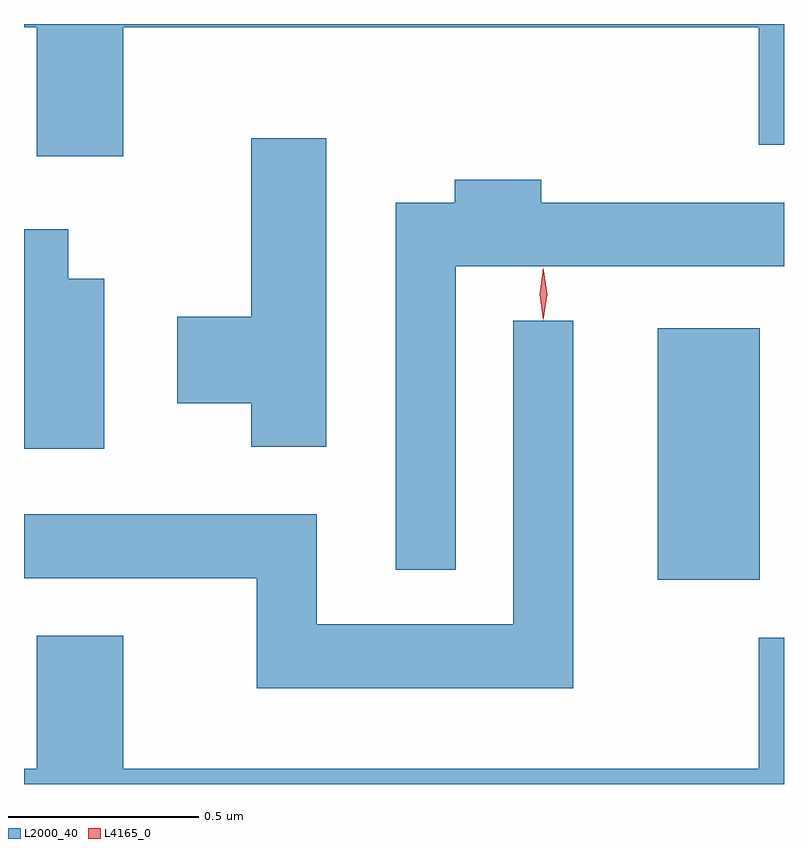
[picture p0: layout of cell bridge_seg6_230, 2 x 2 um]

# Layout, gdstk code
import gdstk
lib = gdstk.Library(unit=1e-6, precision=1e-09)
def R(c, l, rs):  # rectangles x0, y0, x1, y1
    for r in rs: c.add(gdstk.rectangle(r[:2], r[2:], *l))
def P(c, l, *ps):  # polygons
    for p in ps: c.add(gdstk.Polygon(p, *l))
L2000_40 = (2000, 40)
L4165_0 = (4165, 0)

bridge_seg6_230 = lib.new_cell('bridge_seg6_230')
R(bridge_seg6_230, L2000_40, [(1106.956,1550.801,1107.224,1551.464)])
P(bridge_seg6_230, L2000_40, [(1105.549,1552.256),(1107.221,1552.256),(1107.221,1551.946),(1107.288,1551.946),(1107.288,1552.264),(1105.288,1552.264),(1105.288,1552.256),(1105.321,1552.256),(1105.321,1551.916),(1105.549,1551.916)],
  [(1106.084,1551.964),(1105.886,1551.964),(1105.886,1551.494),(1105.691,1551.494),(1105.691,1551.266),(1105.886,1551.266),(1105.886,1551.151),(1106.084,1551.151)],
  [(1106.424,1551.626),(1107.288,1551.626),(1107.288,1551.794),(1106.649,1551.794),(1106.649,1551.854),(1106.421,1551.854),(1106.421,1551.794),(1106.266,1551.794),(1106.266,1550.828),(1106.424,1550.828)],
  [(1105.499,1551.594),(1105.404,1551.594),(1105.404,1551.724),(1105.288,1551.724),(1105.288,1551.146),(1105.499,1551.146)],
  [(1106.734,1551.483),(1106.576,1551.483),(1106.576,1550.684),(1106.059,1550.684),(1106.059,1550.974),(1105.288,1550.974),(1105.288,1550.806),(1105.901,1550.806),(1105.901,1550.516),(1106.734,1550.516)],
  [(1107.288,1550.649),(1107.221,1550.649),(1107.221,1550.304),(1105.549,1550.304),(1105.549,1550.654),(1105.321,1550.654),(1105.321,1550.304),(1105.288,1550.304),(1105.288,1550.264),(1107.288,1550.264)])
P(bridge_seg6_230, L4165_0, [(1106.654,1551.484),(1106.645,1551.553),(1106.654,1551.623),(1106.655,1551.623),(1106.655,1551.623),(1106.665,1551.553),(1106.655,1551.484),(1106.655,1551.484)])

lib.write_gds('bridge_seg6_230.gds')
